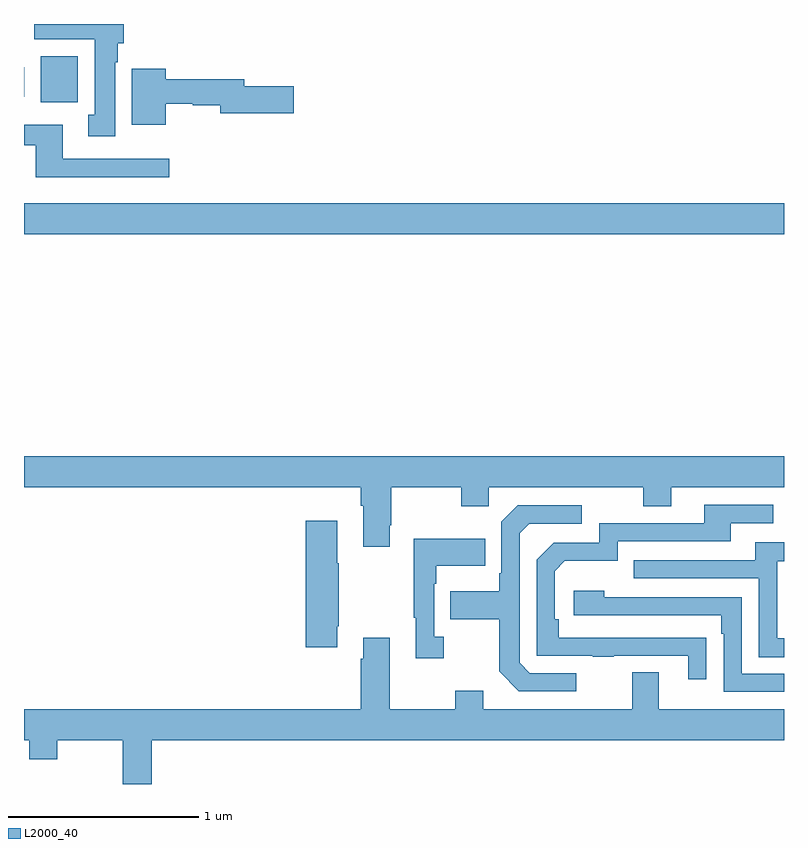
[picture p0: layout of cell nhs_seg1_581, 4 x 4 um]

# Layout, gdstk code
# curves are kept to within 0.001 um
import gdstk
lib = gdstk.Library(unit=1e-6, precision=1e-09)
def R(c, l, rs):  # rectangles x0, y0, x1, y1
    for r in rs: c.add(gdstk.rectangle(r[:2], r[2:], *l))
def P(c, l, *ps):  # polygons
    for p in ps: c.add(gdstk.Polygon(p, *l))
L2000_40 = (2000, 40)

nhs_seg1_581 = lib.new_cell('nhs_seg1_581')
R(nhs_seg1_581, L2000_40, [(143,525.092,147,525.256), (143.087,525.788,143.284,526.03), (143,525.816,143.002,525.972)])
P(nhs_seg1_581, L2000_40, [(143.479,525.998),(143.494,525.998),(143.494,526.098),(143.524,526.098),(143.524,526.199),(143.055,526.199),(143.055,526.118),(143.372,526.118),(143.372,525.722),(143.339,525.722),(143.339,525.609),(143.479,525.609)],
  [(143.746,525.78),(143.889,525.78),(143.889,525.772),(144.032,525.772),(144.032,525.73),(144.421,525.73),(144.421,525.872),(144.16,525.872),(144.16,525.908),(143.746,525.908),(143.746,525.964),(143.567,525.964),(143.567,525.668),(143.746,525.668)],
  [(143.764,525.489),(143.203,525.489),(143.203,525.67),(143,525.67),(143,525.561),(143.063,525.561),(143.063,525.392),(143.764,525.392)],
  [(143,523.76),(144.773,523.76),(144.773,523.664),(144.785,523.664),(144.785,523.449),(144.925,523.449),(144.925,523.561),(144.933,523.561),(144.933,523.76),(145.3,523.76),(145.3,523.661),(145.446,523.661),(145.446,523.76),(146.26,523.76),(146.26,523.661),(146.407,523.661),(146.407,523.76),(147,523.76),(147,523.924),(143,523.924)],
  [(146.591,522.968),(145.814,522.969),(145.814,523.066),(145.794,523.066),(145.794,523.32),(145.847,523.373),(146.124,523.373),(146.124,523.476),(146.719,523.476),(146.719,523.572),(146.944,523.572),(146.944,523.668),(146.579,523.668),(146.579,523.572),(146.028,523.572),(146.028,523.47),(145.788,523.47),(145.698,523.38),(145.698,522.873),(145.993,522.873),(145.993,522.868),(146.105,522.868),(146.105,522.873),(146.495,522.873),(146.495,522.75),(146.591,522.75)],
  [(145.906,522.783),(145.662,522.783),(145.608,522.837),(145.608,523.518),(145.659,523.569),(145.936,523.569),(145.936,523.665),(145.599,523.665),(145.512,523.578),(145.512,523.309),(145.5,523.309),(145.5,523.213),(145.243,523.213),(145.243,523.066),(145.5,523.066),(145.5,522.793),(145.605,522.687),(145.906,522.687)],
  [(144.649,523.03),(144.657,523.03),(144.657,523.361),(144.649,523.361),(144.649,523.585),(144.482,523.585),(144.482,522.918),(144.649,522.918)],
  [(145.21,522.974),(145.158,522.974),(145.158,523.253),(145.171,523.253),(145.171,523.349),(145.427,523.349),(145.427,523.489),(145.05,523.489),(145.05,523.073),(145.061,523.073),(145.061,522.861),(145.21,522.861)],
  [(147,522.966),(146.964,522.966),(146.964,523.371),(147,523.371),(147,523.471),(146.849,523.471),(146.849,523.377),(146.209,523.377),(146.209,523.281),(146.868,523.281),(146.868,522.865),(147,522.865)],
  [(147,522.78),(146.778,522.78),(146.778,523.182),(146.054,523.182),(146.054,523.216),(145.893,523.216),(145.893,523.086),(146.669,523.086),(146.669,522.989),(146.682,522.989),(146.682,522.684),(147,522.684)],
  [(143.672,522.428),(147,522.428),(147,522.592),(146.341,522.592),(146.341,522.787),(146.201,522.787),(146.201,522.592),(145.417,522.592),(145.417,522.691),(145.27,522.691),(145.27,522.592),(144.925,522.592),(144.925,522.97),(144.785,522.97),(144.785,522.857),(144.773,522.857),(144.773,522.592),(143,522.592),(143,522.428),(143.027,522.428),(143.027,522.329),(143.175,522.329),(143.175,522.428),(143.519,522.428),(143.519,522.199),(143.672,522.199)])

lib.write_gds('nhs_seg1_581.gds')
